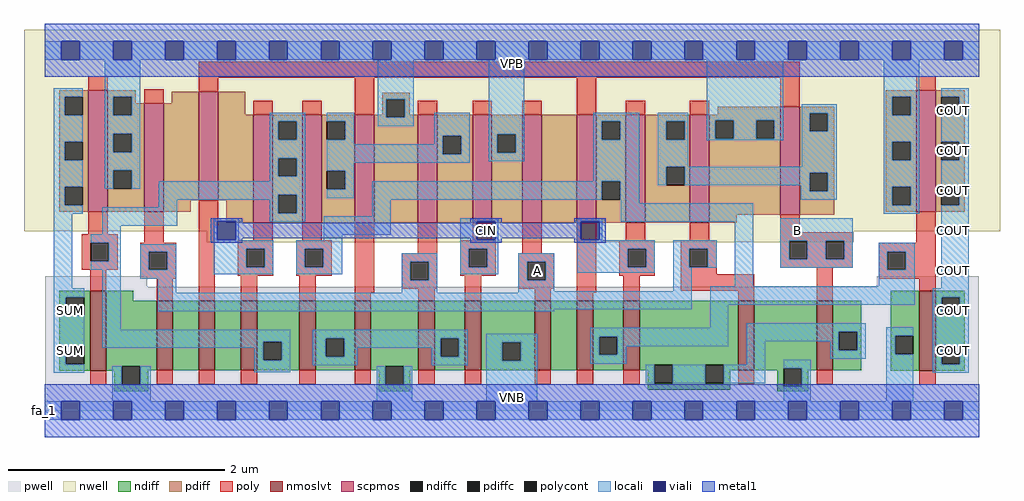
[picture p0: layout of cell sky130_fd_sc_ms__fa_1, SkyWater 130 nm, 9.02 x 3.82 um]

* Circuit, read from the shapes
.subckt sky130_fd_sc_ms__fa_1 A B CIN VGND VNB VPB VPWR COUT SUM
XM1 VGND n1 SUM VNB sky130_fd_pr__nfet_01v8_lvt w=0.74 l=0.15
XM2 n2 A VGND VNB sky130_fd_pr__nfet_01v8_lvt w=0.64 l=0.15
XM3 n3 B n2 VNB sky130_fd_pr__nfet_01v8_lvt w=0.64 l=0.15
XM4 n1 CIN n3 VNB sky130_fd_pr__nfet_01v8_lvt w=0.64 l=0.15
XM5 n4 n5 n1 VNB sky130_fd_pr__nfet_01v8_lvt w=0.64 l=0.15
XM6 VGND B n4 VNB sky130_fd_pr__nfet_01v8_lvt w=0.64 l=0.15
XM7 n4 A VGND VNB sky130_fd_pr__nfet_01v8_lvt w=0.64 l=0.15
XM8 VGND CIN n4 VNB sky130_fd_pr__nfet_01v8_lvt w=0.64 l=0.15
XM9 n6 A VGND VNB sky130_fd_pr__nfet_01v8_lvt w=0.64 l=0.15
XM10 n5 B n6 VNB sky130_fd_pr__nfet_01v8_lvt w=0.64 l=0.15
XM11 n7 CIN n5 VNB sky130_fd_pr__nfet_01v8_lvt w=0.64 l=0.15
XM12 VGND A n7 VNB sky130_fd_pr__nfet_01v8_lvt w=0.64 l=0.15
XM13 n7 B VGND VNB sky130_fd_pr__nfet_01v8_lvt w=0.64 l=0.15
XM14 COUT n5 VGND VNB sky130_fd_pr__nfet_01v8_lvt w=0.74 l=0.15
XM15 VPWR n1 SUM VPB sky130_fd_pr__pfet_01v8 w=1.12 l=0.18
XM16 n8 A VPWR VPB sky130_fd_pr__pfet_01v8 w=1 l=0.18
XM17 n9 B n8 VPB sky130_fd_pr__pfet_01v8 w=1 l=0.18
XM18 n1 CIN n9 VPB sky130_fd_pr__pfet_01v8 w=1 l=0.18
XM19 n10 n5 n1 VPB sky130_fd_pr__pfet_01v8 w=1 l=0.18
XM20 VPWR B n10 VPB sky130_fd_pr__pfet_01v8 w=1 l=0.18
XM21 n10 A VPWR VPB sky130_fd_pr__pfet_01v8 w=1 l=0.18
XM22 VPWR CIN n10 VPB sky130_fd_pr__pfet_01v8 w=1 l=0.18
XM23 n11 A VPWR VPB sky130_fd_pr__pfet_01v8 w=1 l=0.18
XM24 n5 B n11 VPB sky130_fd_pr__pfet_01v8 w=1 l=0.18
XM25 n12 CIN n5 VPB sky130_fd_pr__pfet_01v8 w=1 l=0.18
XM26 VPWR A n12 VPB sky130_fd_pr__pfet_01v8 w=1 l=0.18
XM27 n12 B VPWR VPB sky130_fd_pr__pfet_01v8 w=1 l=0.18
XM28 COUT n5 VPWR VPB sky130_fd_pr__pfet_01v8 w=1.12 l=0.18
.ends

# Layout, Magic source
magic
tech sky130A
magscale 1 2
<< nwell >>
rect -38 332 1766 704
rect 300 311 1496 332
<< pwell >>
rect 1 229 190 248
rect 1538 229 1727 248
rect 1 49 1727 229
rect 0 0 1728 49
<< scpmos >>
rect 81 368 117 592
rect 184 368 220 568
rect 285 389 321 589
rect 386 347 422 547
rect 476 347 512 547
rect 573 347 609 547
rect 690 347 726 547
rect 791 347 827 547
rect 883 347 919 547
rect 984 347 1020 547
rect 1074 347 1110 547
rect 1193 347 1229 547
rect 1360 362 1396 562
rect 1611 368 1647 592
<< nmoslvt >>
rect 84 74 114 222
rect 207 75 237 203
rect 285 75 315 203
rect 363 75 393 203
rect 471 75 501 203
rect 573 75 603 203
rect 691 75 721 203
rect 777 75 807 203
rect 906 75 936 203
rect 984 75 1014 203
rect 1070 75 1100 203
rect 1282 75 1312 203
rect 1427 75 1457 203
rect 1617 74 1647 222
<< ndiff >>
rect 27 210 84 222
rect 27 176 39 210
rect 73 176 84 210
rect 27 120 84 176
rect 27 86 39 120
rect 73 86 84 120
rect 27 74 84 86
rect 114 203 164 222
rect 114 82 207 203
rect 114 74 143 82
rect 129 48 143 74
rect 177 75 207 82
rect 237 75 285 203
rect 315 75 363 203
rect 393 127 471 203
rect 393 93 404 127
rect 438 93 471 127
rect 393 75 471 93
rect 501 134 573 203
rect 501 100 520 134
rect 554 100 573 134
rect 501 75 573 100
rect 603 82 691 203
rect 603 75 630 82
rect 177 48 192 75
rect 129 36 192 48
rect 618 48 630 75
rect 664 75 691 82
rect 721 134 777 203
rect 721 100 732 134
rect 766 100 777 134
rect 721 75 777 100
rect 807 126 906 203
rect 807 92 846 126
rect 880 92 906 126
rect 807 75 906 92
rect 936 75 984 203
rect 1014 137 1070 203
rect 1014 103 1025 137
rect 1059 103 1070 137
rect 1014 75 1070 103
rect 1100 85 1282 203
rect 1100 75 1127 85
rect 664 48 676 75
rect 1115 51 1127 75
rect 1161 51 1221 85
rect 1255 75 1282 85
rect 1312 78 1427 203
rect 1312 75 1366 78
rect 1255 51 1267 75
rect 618 36 676 48
rect 1115 39 1267 51
rect 1354 44 1366 75
rect 1400 75 1427 78
rect 1457 146 1510 203
rect 1457 112 1468 146
rect 1502 112 1510 146
rect 1457 75 1510 112
rect 1564 138 1617 222
rect 1564 104 1572 138
rect 1606 104 1617 138
rect 1400 44 1412 75
rect 1564 74 1617 104
rect 1647 210 1701 222
rect 1647 176 1658 210
rect 1692 176 1701 210
rect 1647 120 1701 176
rect 1647 86 1658 120
rect 1692 86 1701 120
rect 1647 74 1701 86
rect 1354 36 1412 44
<< pdiff >>
rect 27 580 81 592
rect 27 546 37 580
rect 71 546 81 580
rect 27 497 81 546
rect 27 463 37 497
rect 71 463 81 497
rect 27 414 81 463
rect 27 380 37 414
rect 71 380 81 414
rect 27 368 81 380
rect 117 580 169 592
rect 117 546 127 580
rect 161 568 169 580
rect 235 568 285 589
rect 161 546 184 568
rect 117 512 184 546
rect 117 478 127 512
rect 161 478 184 512
rect 117 444 184 478
rect 117 410 127 444
rect 161 410 184 444
rect 117 368 184 410
rect 220 389 285 568
rect 321 547 371 589
rect 624 576 675 588
rect 624 547 632 576
rect 321 389 386 547
rect 220 368 270 389
rect 336 347 386 389
rect 422 535 476 547
rect 422 501 432 535
rect 466 501 476 535
rect 422 467 476 501
rect 422 433 432 467
rect 466 433 476 467
rect 422 399 476 433
rect 422 365 432 399
rect 466 365 476 399
rect 422 347 476 365
rect 512 535 573 547
rect 512 501 522 535
rect 556 501 573 535
rect 512 443 573 501
rect 512 409 522 443
rect 556 409 573 443
rect 512 347 573 409
rect 609 542 632 547
rect 666 547 675 576
rect 1555 580 1611 592
rect 1244 547 1360 562
rect 666 542 690 547
rect 609 347 690 542
rect 726 508 791 547
rect 726 474 736 508
rect 770 474 791 508
rect 726 347 791 474
rect 827 511 883 547
rect 827 477 837 511
rect 871 477 883 511
rect 827 347 883 477
rect 919 347 984 547
rect 1020 535 1074 547
rect 1020 501 1030 535
rect 1064 501 1074 535
rect 1020 424 1074 501
rect 1020 390 1030 424
rect 1064 390 1074 424
rect 1020 347 1074 390
rect 1110 535 1193 547
rect 1110 501 1149 535
rect 1183 501 1193 535
rect 1110 451 1193 501
rect 1110 417 1149 451
rect 1183 417 1193 451
rect 1110 347 1193 417
rect 1229 537 1360 547
rect 1229 503 1240 537
rect 1274 503 1315 537
rect 1349 503 1360 537
rect 1229 362 1360 503
rect 1396 550 1460 562
rect 1396 516 1414 550
rect 1448 516 1460 550
rect 1396 440 1460 516
rect 1396 406 1414 440
rect 1448 406 1460 440
rect 1396 362 1460 406
rect 1555 546 1567 580
rect 1601 546 1611 580
rect 1555 497 1611 546
rect 1555 463 1567 497
rect 1601 463 1611 497
rect 1555 414 1611 463
rect 1555 380 1567 414
rect 1601 380 1611 414
rect 1555 368 1611 380
rect 1647 580 1701 592
rect 1647 546 1657 580
rect 1691 546 1701 580
rect 1647 497 1701 546
rect 1647 463 1657 497
rect 1691 463 1701 497
rect 1647 414 1701 463
rect 1647 380 1657 414
rect 1691 380 1701 414
rect 1647 368 1701 380
rect 1229 347 1279 362
<< ndiffc >>
rect 39 176 73 210
rect 39 86 73 120
rect 143 48 177 82
rect 404 93 438 127
rect 520 100 554 134
rect 630 48 664 82
rect 732 100 766 134
rect 846 92 880 126
rect 1025 103 1059 137
rect 1127 51 1161 85
rect 1221 51 1255 85
rect 1366 44 1400 78
rect 1468 112 1502 146
rect 1572 104 1606 138
rect 1658 176 1692 210
rect 1658 86 1692 120
<< pdiffc >>
rect 37 546 71 580
rect 37 463 71 497
rect 37 380 71 414
rect 127 546 161 580
rect 127 478 161 512
rect 127 410 161 444
rect 432 501 466 535
rect 432 433 466 467
rect 432 365 466 399
rect 522 501 556 535
rect 522 409 556 443
rect 632 542 666 576
rect 736 474 770 508
rect 837 477 871 511
rect 1030 501 1064 535
rect 1030 390 1064 424
rect 1149 501 1183 535
rect 1149 417 1183 451
rect 1240 503 1274 537
rect 1315 503 1349 537
rect 1414 516 1448 550
rect 1414 406 1448 440
rect 1567 546 1601 580
rect 1567 463 1601 497
rect 1567 380 1601 414
rect 1657 546 1691 580
rect 1657 463 1691 497
rect 1657 380 1691 414
<< poly >>
rect 81 592 117 618
rect 285 615 1396 645
rect 184 568 220 594
rect 285 589 321 615
rect 386 547 422 573
rect 476 547 512 573
rect 573 547 609 615
rect 81 326 117 368
rect 69 310 135 326
rect 184 310 220 368
rect 285 343 321 389
rect 690 547 726 573
rect 791 547 827 573
rect 883 547 919 573
rect 984 547 1020 615
rect 1074 547 1110 573
rect 1193 547 1229 573
rect 1360 562 1396 615
rect 1611 592 1647 618
rect 69 276 85 310
rect 119 276 135 310
rect 69 260 135 276
rect 177 294 243 310
rect 177 260 193 294
rect 227 260 243 294
rect 84 222 114 260
rect 177 244 243 260
rect 207 203 237 244
rect 285 203 315 343
rect 386 315 422 347
rect 476 315 512 347
rect 357 299 423 315
rect 357 265 373 299
rect 407 265 423 299
rect 357 249 423 265
rect 465 299 531 315
rect 465 265 481 299
rect 515 265 531 299
rect 465 249 531 265
rect 363 203 393 249
rect 471 203 501 249
rect 573 218 609 347
rect 690 291 726 347
rect 791 315 827 347
rect 660 275 726 291
rect 660 241 676 275
rect 710 241 726 275
rect 768 299 834 315
rect 768 265 784 299
rect 818 265 834 299
rect 883 291 919 347
rect 768 249 834 265
rect 876 275 942 291
rect 660 225 726 241
rect 573 203 603 218
rect 691 203 721 225
rect 777 203 807 249
rect 876 241 892 275
rect 926 241 942 275
rect 876 225 942 241
rect 906 203 936 225
rect 984 218 1020 347
rect 1074 315 1110 347
rect 1193 315 1229 347
rect 1360 330 1396 362
rect 1062 299 1128 315
rect 1062 265 1078 299
rect 1112 265 1128 299
rect 1062 249 1128 265
rect 1176 299 1242 315
rect 1176 265 1192 299
rect 1226 265 1242 299
rect 1176 252 1242 265
rect 1360 314 1494 330
rect 1360 280 1376 314
rect 1410 280 1444 314
rect 1478 280 1494 314
rect 1611 310 1647 368
rect 1360 264 1494 280
rect 1542 294 1647 310
rect 984 203 1014 218
rect 1070 203 1100 249
rect 1176 222 1312 252
rect 1282 203 1312 222
rect 1427 203 1457 264
rect 1542 260 1558 294
rect 1592 260 1647 294
rect 1542 244 1647 260
rect 1617 222 1647 244
rect 84 48 114 74
rect 207 49 237 75
rect 285 49 315 75
rect 363 49 393 75
rect 471 49 501 75
rect 573 49 603 75
rect 691 49 721 75
rect 777 49 807 75
rect 906 49 936 75
rect 984 49 1014 75
rect 1070 49 1100 75
rect 1282 49 1312 75
rect 1427 49 1457 75
rect 1617 48 1647 74
<< polycont >>
rect 85 276 119 310
rect 193 260 227 294
rect 373 265 407 299
rect 481 265 515 299
rect 676 241 710 275
rect 784 265 818 299
rect 892 241 926 275
rect 1078 265 1112 299
rect 1192 265 1226 299
rect 1376 280 1410 314
rect 1444 280 1478 314
rect 1558 260 1592 294
<< locali >>
rect 0 649 31 683
rect 65 649 127 683
rect 161 649 223 683
rect 257 649 319 683
rect 353 649 415 683
rect 449 649 511 683
rect 545 649 607 683
rect 641 649 703 683
rect 737 649 799 683
rect 833 649 895 683
rect 929 649 991 683
rect 1025 649 1087 683
rect 1121 649 1183 683
rect 1217 649 1279 683
rect 1313 649 1375 683
rect 1409 649 1471 683
rect 1505 649 1567 683
rect 1601 649 1663 683
rect 1697 649 1728 683
rect 17 580 71 596
rect 17 546 37 580
rect 17 497 71 546
rect 17 463 37 497
rect 17 414 71 463
rect 17 380 37 414
rect 111 580 177 649
rect 111 546 127 580
rect 161 546 177 580
rect 616 576 682 649
rect 111 512 177 546
rect 111 478 127 512
rect 161 478 177 512
rect 111 444 177 478
rect 111 410 127 444
rect 161 410 177 444
rect 416 535 482 551
rect 416 501 432 535
rect 466 501 482 535
rect 416 467 482 501
rect 416 433 432 467
rect 466 433 482 467
rect 416 424 482 433
rect 17 364 71 380
rect 211 399 482 424
rect 211 390 432 399
rect 211 376 245 390
rect 17 226 51 364
rect 107 342 245 376
rect 416 365 432 390
rect 466 365 482 399
rect 522 535 572 551
rect 556 501 572 535
rect 616 542 632 576
rect 666 542 682 576
rect 616 526 682 542
rect 522 492 572 501
rect 720 508 786 551
rect 720 492 736 508
rect 522 474 736 492
rect 770 474 786 508
rect 522 458 786 474
rect 821 511 887 649
rect 821 477 837 511
rect 871 477 887 511
rect 821 461 887 477
rect 1014 535 1099 551
rect 1014 501 1030 535
rect 1064 501 1099 535
rect 522 443 572 458
rect 556 409 572 443
rect 1014 424 1099 501
rect 522 393 572 409
rect 313 350 359 356
rect 107 326 141 342
rect 85 310 141 326
rect 119 276 141 310
rect 313 316 319 350
rect 353 316 359 350
rect 416 349 482 365
rect 606 390 1030 424
rect 1064 390 1099 424
rect 1133 535 1190 551
rect 1133 501 1149 535
rect 1183 501 1190 535
rect 1133 451 1190 501
rect 1224 537 1365 649
rect 1551 580 1617 649
rect 1224 503 1240 537
rect 1274 503 1315 537
rect 1349 503 1365 537
rect 1224 500 1365 503
rect 1400 550 1464 566
rect 1400 516 1414 550
rect 1448 516 1464 550
rect 1400 451 1464 516
rect 1133 417 1149 451
rect 1183 440 1464 451
rect 1183 417 1414 440
rect 1398 406 1414 417
rect 1448 406 1464 440
rect 1398 390 1464 406
rect 1551 546 1567 580
rect 1601 546 1617 580
rect 1551 497 1617 546
rect 1551 463 1567 497
rect 1601 463 1617 497
rect 1551 414 1617 463
rect 606 359 640 390
rect 313 315 359 316
rect 516 325 640 359
rect 1065 383 1099 390
rect 768 350 839 356
rect 516 315 550 325
rect 85 260 141 276
rect 17 210 73 226
rect 17 176 39 210
rect 17 120 73 176
rect 17 86 39 120
rect 107 150 141 260
rect 177 294 243 308
rect 177 260 193 294
rect 227 260 243 294
rect 177 244 243 260
rect 313 299 423 315
rect 313 265 373 299
rect 407 265 423 299
rect 313 252 423 265
rect 465 299 550 315
rect 465 265 481 299
rect 515 265 550 299
rect 768 316 799 350
rect 833 316 839 350
rect 768 299 839 316
rect 465 252 550 265
rect 660 275 726 291
rect 209 218 243 244
rect 660 241 676 275
rect 710 241 726 275
rect 768 265 784 299
rect 818 265 839 299
rect 985 350 1031 356
rect 985 316 991 350
rect 1025 316 1031 350
rect 1065 349 1310 383
rect 1551 380 1567 414
rect 1601 380 1617 414
rect 1551 364 1617 380
rect 1657 580 1708 596
rect 1691 546 1708 580
rect 1657 497 1708 546
rect 1691 463 1708 497
rect 1657 414 1708 463
rect 1691 380 1708 414
rect 985 315 1031 316
rect 985 299 1128 315
rect 768 252 839 265
rect 876 275 942 291
rect 660 218 726 241
rect 876 241 892 275
rect 926 241 942 275
rect 985 265 1078 299
rect 1112 265 1128 299
rect 985 255 1128 265
rect 1162 299 1242 315
rect 1162 265 1192 299
rect 1226 265 1242 299
rect 1162 264 1242 265
rect 876 221 942 241
rect 1162 221 1196 264
rect 1276 230 1310 349
rect 1360 314 1494 356
rect 1360 280 1376 314
rect 1410 280 1444 314
rect 1478 280 1494 314
rect 1360 264 1494 280
rect 1542 294 1608 310
rect 1542 260 1558 294
rect 1592 260 1608 294
rect 1542 230 1608 260
rect 876 218 1196 221
rect 209 187 1196 218
rect 1230 196 1608 230
rect 1657 226 1708 380
rect 1642 210 1708 226
rect 209 184 942 187
rect 1230 153 1264 196
rect 1642 176 1658 210
rect 1692 176 1708 210
rect 107 127 454 150
rect 107 116 404 127
rect 17 70 73 86
rect 388 93 404 116
rect 438 93 454 127
rect 125 48 143 82
rect 177 48 196 82
rect 388 71 454 93
rect 496 134 782 150
rect 496 100 520 134
rect 554 116 732 134
rect 554 100 578 116
rect 496 84 578 100
rect 716 100 732 116
rect 766 100 782 134
rect 716 84 782 100
rect 816 126 911 142
rect 816 92 846 126
rect 880 92 911 126
rect 125 17 196 48
rect 614 48 630 82
rect 664 48 680 82
rect 614 17 680 48
rect 816 17 911 92
rect 1009 137 1264 153
rect 1009 103 1025 137
rect 1059 119 1264 137
rect 1298 146 1518 162
rect 1298 128 1468 146
rect 1059 103 1075 119
rect 1009 87 1075 103
rect 1298 85 1332 128
rect 1452 112 1468 128
rect 1502 112 1518 146
rect 1452 96 1518 112
rect 1556 138 1606 154
rect 1556 104 1572 138
rect 1111 51 1127 85
rect 1161 51 1221 85
rect 1255 51 1332 85
rect 1366 78 1416 94
rect 1400 44 1416 78
rect 1366 17 1416 44
rect 1556 17 1606 104
rect 1642 120 1708 176
rect 1642 86 1658 120
rect 1692 86 1708 120
rect 1642 70 1708 86
rect 0 -17 31 17
rect 65 -17 127 17
rect 161 -17 223 17
rect 257 -17 319 17
rect 353 -17 415 17
rect 449 -17 511 17
rect 545 -17 607 17
rect 641 -17 703 17
rect 737 -17 799 17
rect 833 -17 895 17
rect 929 -17 991 17
rect 1025 -17 1087 17
rect 1121 -17 1183 17
rect 1217 -17 1279 17
rect 1313 -17 1375 17
rect 1409 -17 1471 17
rect 1505 -17 1567 17
rect 1601 -17 1663 17
rect 1697 -17 1728 17
<< viali >>
rect 31 649 65 683
rect 127 649 161 683
rect 223 649 257 683
rect 319 649 353 683
rect 415 649 449 683
rect 511 649 545 683
rect 607 649 641 683
rect 703 649 737 683
rect 799 649 833 683
rect 895 649 929 683
rect 991 649 1025 683
rect 1087 649 1121 683
rect 1183 649 1217 683
rect 1279 649 1313 683
rect 1375 649 1409 683
rect 1471 649 1505 683
rect 1567 649 1601 683
rect 1663 649 1697 683
rect 319 316 353 350
rect 799 316 833 350
rect 991 316 1025 350
rect 31 -17 65 17
rect 127 -17 161 17
rect 223 -17 257 17
rect 319 -17 353 17
rect 415 -17 449 17
rect 511 -17 545 17
rect 607 -17 641 17
rect 703 -17 737 17
rect 799 -17 833 17
rect 895 -17 929 17
rect 991 -17 1025 17
rect 1087 -17 1121 17
rect 1183 -17 1217 17
rect 1279 -17 1313 17
rect 1375 -17 1409 17
rect 1471 -17 1505 17
rect 1567 -17 1601 17
rect 1663 -17 1697 17
<< metal1 >>
rect 0 683 1728 715
rect 0 649 31 683
rect 65 649 127 683
rect 161 649 223 683
rect 257 649 319 683
rect 353 649 415 683
rect 449 649 511 683
rect 545 649 607 683
rect 641 649 703 683
rect 737 649 799 683
rect 833 649 895 683
rect 929 649 991 683
rect 1025 649 1087 683
rect 1121 649 1183 683
rect 1217 649 1279 683
rect 1313 649 1375 683
rect 1409 649 1471 683
rect 1505 649 1567 683
rect 1601 649 1663 683
rect 1697 649 1728 683
rect 0 617 1728 649
rect 307 350 365 356
rect 307 316 319 350
rect 353 347 365 350
rect 787 350 845 356
rect 787 347 799 350
rect 353 319 799 347
rect 353 316 365 319
rect 307 310 365 316
rect 787 316 799 319
rect 833 347 845 350
rect 979 350 1037 356
rect 979 347 991 350
rect 833 319 991 347
rect 833 316 845 319
rect 787 310 845 316
rect 979 316 991 319
rect 1025 316 1037 350
rect 979 310 1037 316
rect 0 17 1728 49
rect 0 -17 31 17
rect 65 -17 127 17
rect 161 -17 223 17
rect 257 -17 319 17
rect 353 -17 415 17
rect 449 -17 511 17
rect 545 -17 607 17
rect 641 -17 703 17
rect 737 -17 799 17
rect 833 -17 895 17
rect 929 -17 991 17
rect 1025 -17 1087 17
rect 1121 -17 1183 17
rect 1217 -17 1279 17
rect 1313 -17 1375 17
rect 1409 -17 1471 17
rect 1505 -17 1567 17
rect 1601 -17 1663 17
rect 1697 -17 1728 17
rect 0 -49 1728 -17
<< labels >>
flabel pwell s 0 0 1728 49 0 FreeSans 200 0 0 0 VNB
port 5 nsew ground bidirectional
flabel nwell s 0 617 1728 666 0 FreeSans 200 0 0 0 VPB
port 6 nsew power bidirectional
rlabel comment s 0 0 0 0 4 fa_1
flabel metal1 s 799 316 833 350 0 FreeSans 340 0 0 0 CIN
port 3 nsew signal input
flabel metal1 s 0 617 1728 666 0 FreeSans 340 0 0 0 VPWR
port 7 nsew power bidirectional
flabel metal1 s 0 0 1728 49 0 FreeSans 340 0 0 0 VGND
port 4 nsew ground bidirectional
flabel locali s 895 242 929 276 0 FreeSans 340 0 0 0 A
port 1 nsew signal input
flabel locali s 1375 316 1409 350 0 FreeSans 340 0 0 0 B
port 2 nsew signal input
flabel locali s 1663 94 1697 128 0 FreeSans 340 0 0 0 COUT
port 8 nsew signal output
flabel locali s 1663 168 1697 202 0 FreeSans 340 0 0 0 COUT
port 8 nsew signal output
flabel locali s 1663 242 1697 276 0 FreeSans 340 0 0 0 COUT
port 8 nsew signal output
flabel locali s 1663 316 1697 350 0 FreeSans 340 0 0 0 COUT
port 8 nsew signal output
flabel locali s 1663 390 1697 424 0 FreeSans 340 0 0 0 COUT
port 8 nsew signal output
flabel locali s 1663 464 1697 498 0 FreeSans 340 0 0 0 COUT
port 8 nsew signal output
flabel locali s 1663 538 1697 572 0 FreeSans 340 0 0 0 COUT
port 8 nsew signal output
flabel locali s 31 94 65 128 0 FreeSans 340 0 0 0 SUM
port 9 nsew signal output
flabel locali s 31 168 65 202 0 FreeSans 340 0 0 0 SUM
port 9 nsew signal output
<< properties >>
string LEFsite unit
string LEFclass CORE
string FIXED_BBOX 0 0 1728 666
string GDS_FILE $PDKPATH/libs.ref/sky130_fd_sc_ms/gds/sky130_fd_sc_ms.gds
string LEFsymmetry X Y
string GDS_END 1527432
string GDS_START 1513970
<< end >>
